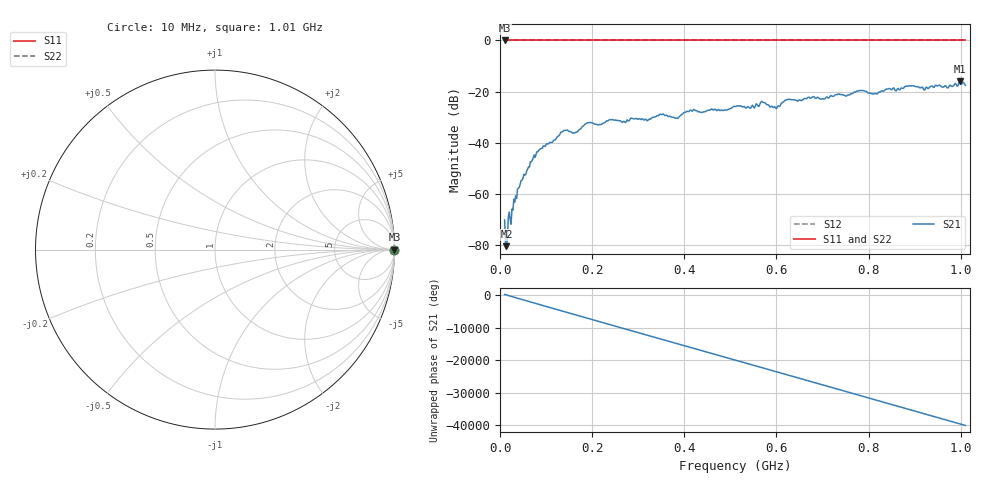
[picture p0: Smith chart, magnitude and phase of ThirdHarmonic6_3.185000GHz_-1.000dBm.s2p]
! 8/17/2025 9:37:49 AM
! C:\ANRITSUVNA\TEMP\TEMP.S2P
! CHANNEL.1
! TR.MEASUREMENT
! RAW.DATA
! RF.CORRECTION.OFF
! AVERAGING.OFF
! IF.BANDWIDTH: 5KHZ
! SWEEPTYPE:  FREQ.SWEEP(Linear)
! Reference Plane Port Info
! PORT:  PORT1  PORT2
! DISTANCE:  0  m  0  m
! TIME:  0  s  0  s
! PHASE.OFFSET:  0  deg.  0  deg.
! LOSS:  0  dB  0  dB
! REF.LOSS:  0  dB  0  dB
! REF.FREQ:  0  Hz  0  Hz
! Power Info
! POWER:  -20  dBm  -20  dBm
! EFF.POWER:  -20  dBm  -20  dBm
! SOURCE.ATTEN:  0  dB  0  dB
! TEST.ATTEN:  0  dB  0  dB
# GHZ S RI R 50.0
! FREQ.GHZ  S11RE  S11IM  S21RE  S21IM  S12RE  S12IM  S22RE  S22IM
!; PortSelection: Port_12
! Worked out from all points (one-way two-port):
!   501 points, 10 MHz to 1.01 GHz, reference 50 ohm
!   highest |S21| = -16.04 dB at 998 MHz (marker M1); lowest = -80.5 dB at 14 MHz (marker M2)
!   lowest |S11| = 0.0 dB at 10 MHz (marker M3)
!   |S11| at or under -10 dB: nowhere
!   |S22| runs from 0.0 to 0.0 dB; largest |S21 - S12| = 1.1
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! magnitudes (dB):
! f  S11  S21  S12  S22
! 10 MHz  0.0  -70.2  0.0  0.0
! 14 MHz  0.0  -80.5  0.0  0.0
! 42 MHz  0.0  -57.4  0.0  0.0
! 76 MHz  0.0  -45.8  0.0  0.0
! 136 MHz  0.0  -35.7  0.0  0.0
! 162 MHz  0.0  -36.2  0.0  0.0
! 178 MHz  0.0  -33.8  0.0  0.0
! 192 MHz  0.0  -32.1  0.0  0.0
! 322 MHz  0.0  -31.0  0.0  0.0
! 344 MHz  0.0  -29.4  0.0  0.0
! 384 MHz  0.0  -30.4  0.0  0.0
! 410 MHz  0.0  -27.8  0.0  0.0
! 510 MHz  0.0  -25.8  0.0  0.0
! 570 MHz  0.0  -24.0  0.0  0.0
! 598 MHz  0.0  -26.3  0.0  0.0
! 622 MHz  0.0  -23.2  0.0  0.0
! 678 MHz  0.0  -22.2  0.0  0.0
! 784 MHz  0.0  -19.6  0.0  0.0
! 814 MHz  0.0  -20.7  0.0  0.0
! 844 MHz  0.0  -18.8  0.0  0.0
! 998 MHz  0.0  -16.0  0.0  0.0
! 1.01 GHz  0.0  -17.6  0.0  0.0
